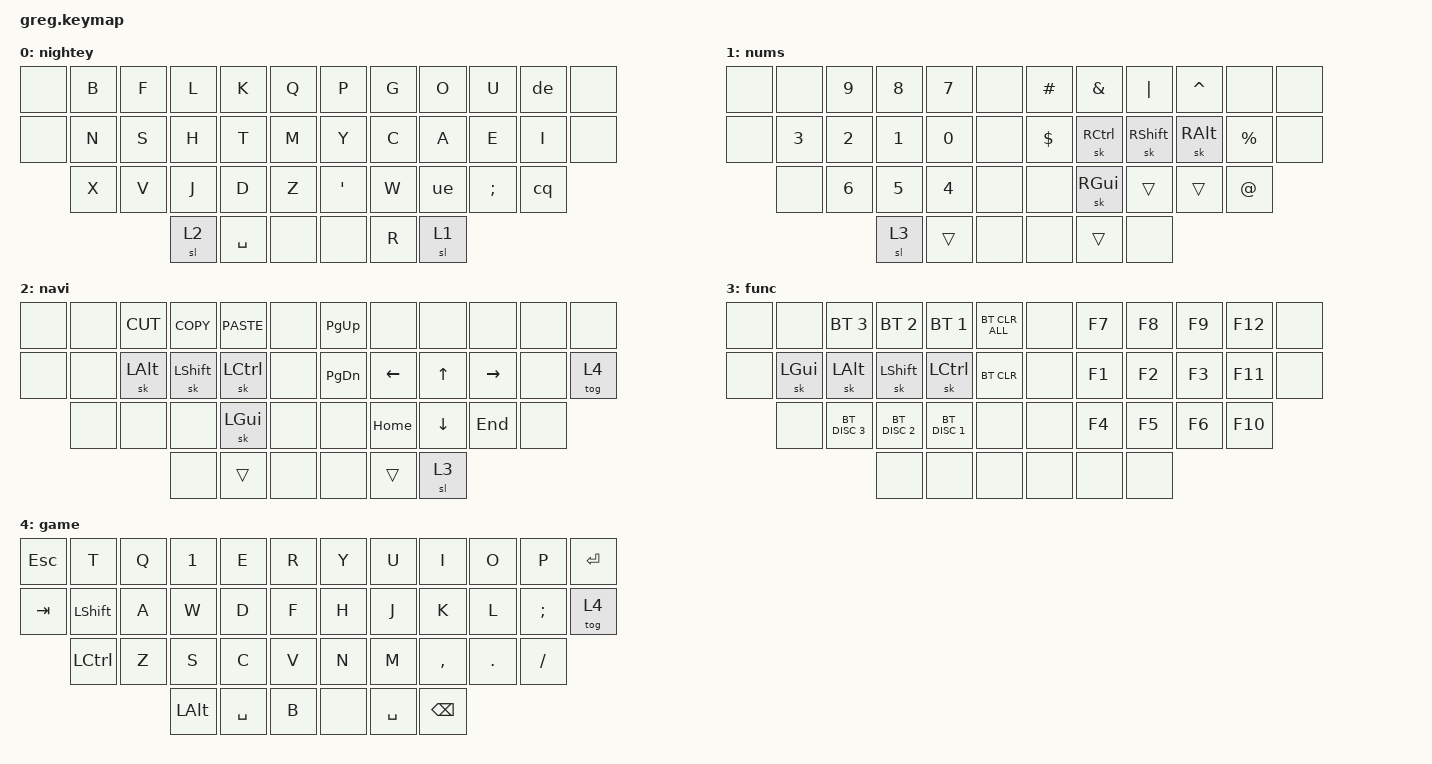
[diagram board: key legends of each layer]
#include <behaviors.dtsi>
#include <dt-bindings/zmk/keys.h>
#include <dt-bindings/zmk/bt.h>

#define BTSL &bt BT_SEL
#define BTDS &bt BT_DISC
#define BTCL &bt BT_CLR
#define BTCA &bt BT_CLR_ALL

#define BASE 0
#define NUMS 1
#define NAVI 2
#define FUNC 3
#define GAME 4

#include "include/greg.h"
#include "include/combos.dtsi"

&sk {
    quick-release;
};

&caps_word {
    continue-list = <UNDERSCORE MINUS BACKSPACE N0 N1 N2 N3 N4 N5 N6 N7 N8 N9>;
};

/ {
    behaviors {
        de: dot_excl {
            compatible = "zmk,behavior-mod-morph";
            #binding-cells = <0>;
            bindings = <&kp DOT>, <&kp EXCL>;
            mods = <(MOD_LSFT|MOD_RSFT)>;
        };

        cq: comma_qmark {
            compatible = "zmk,behavior-mod-morph";
            #binding-cells = <0>;
            bindings = <&kp COMMA>, <&kp QMARK>;
            mods = <(MOD_LSFT|MOD_RSFT)>;
        };

        ue: under_equal {
            compatible = "zmk,behavior-mod-morph";
            #binding-cells = <0>;
            bindings = <&kp UNDER>, <&kp EQUAL>;
            mods = <(MOD_LSFT|MOD_RSFT)>;
        };
    };

    keymap {
        compatible = "zmk,keymap";

        zero {
            display-name = "nightey";

            bindings = <
                &none      &kp B      &kp F      &kp L      &kp K      &kp Q        &kp P      &kp G      &kp O      &kp U      &de        &none
                &none      &kp N      &kp S      &kp H      &kp T      &kp M        &kp Y      &kp C      &kp A      &kp E      &kp I      &none
                           &kp X      &kp V      &kp J      &kp D      &kp Z        &kp SQT    &kp W      &ue        &kp SEMI   &cq
                                                 &sl 2      &kp SPACE  &none        &none      &kp R      &sl 1
            >;
        };

        one {
            display-name = "nums";

            bindings = <
                &none      &none      &kp N9     &kp N8     &kp N7     &none        &kp HASH   &kp AMPS   &kp PIPE   &kp CARET  &none      &none
                &none      &kp N3     &kp N2     &kp N1     &kp N0     &none        &kp DLLR   &sk RCTRL  &sk RSHFT  &sk RALT   &kp PRCNT  &none
                           &none      &kp N6     &kp N5     &kp N4     &none        &none      &sk RGUI   &trans     &trans     &kp AT
                                                 &sl 3      &trans     &none        &none     &trans     &none
            >;
        };

        two {
            display-name = "navi";

            bindings = <
                &none      &none      &kp K_CUT  &kp K_COPY &kp K_PASTE &none       &kp PG_UP  &none      &none      &none      &none      &none
                &none      &none      &sk LALT   &sk LSHFT  &sk LCTRL  &none        &kp PG_DN  &kp LEFT   &kp UP     &kp RIGHT  &none      &tog 4
                           &none      &none      &none      &sk LGUI   &none        &none      &kp HOME   &kp DOWN   &kp END    &none
                                                 &none      &trans     &none        &none      &trans     &sl 3
            >;
        };

        three {
            display-name = "func";

            bindings = <
                &none      &none      BTSL 3     BTSL 2     BTSL 1     BTCA         &none      &kp F7     &kp F8     &kp F9     &kp F12    &none
                &none      &sk LGUI   &sk LALT   &sk LSHFT  &sk LCTRL  BTCL         &none      &kp F1     &kp F2     &kp F3     &kp F11    &none
                           &none      BTDS 3     BTDS 2     BTDS 1     &none        &none      &kp F4     &kp F5     &kp F6     &kp F10
                                                 &none      &none      &none        &none      &none      &none
            >;
        };

        four {
            display-name = "game";

            bindings = <
                &kp ESC    &kp T      &kp Q      &kp N1     &kp E      &kp R        &kp Y      &kp U      &kp I      &kp O      &kp P      &kp RET
                &kp TAB    &kp LSHFT  &kp A      &kp W      &kp D      &kp F        &kp H      &kp J      &kp K      &kp L      &kp SEMI   &tog 4
                           &kp LCTRL  &kp Z      &kp S      &kp C      &kp V        &kp N      &kp M      &kp COMMA  &kp DOT    &kp FSLH
                                                 &kp LALT   &kp SPACE  &kp B        &none      &kp SPACE  &kp BSPC
            >;
        };
    };
};
